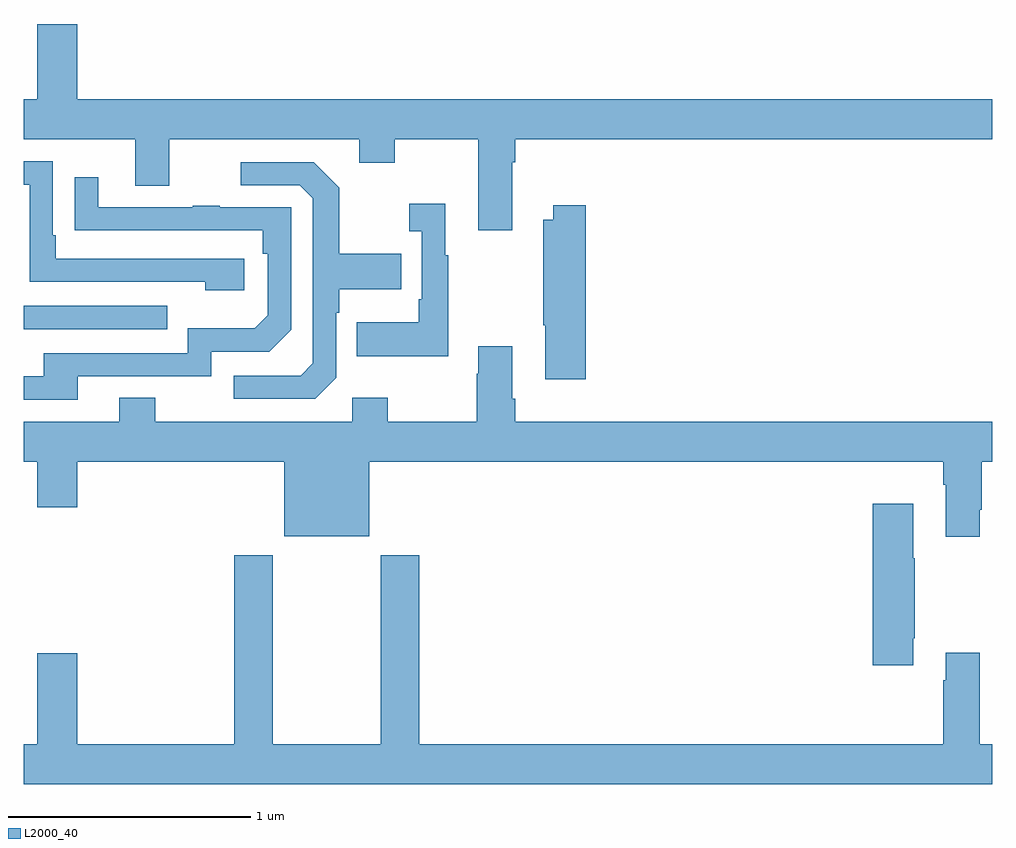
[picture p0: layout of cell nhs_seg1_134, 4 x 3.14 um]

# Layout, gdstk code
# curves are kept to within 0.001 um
import gdstk
lib = gdstk.Library(unit=1e-6, precision=1e-09)
def R(c, l, rs):  # rectangles x0, y0, x1, y1
    for r in rs: c.add(gdstk.rectangle(r[:2], r[2:], *l))
def P(c, l, *ps):  # polygons
    for p in ps: c.add(gdstk.Polygon(p, *l))
L2000_40 = (2000, 40)

nhs_seg1_134 = lib.new_cell('nhs_seg1_134')
R(nhs_seg1_134, L2000_40, [(117,558.939,117.593,559.035)])
P(nhs_seg1_134, L2000_40, [(119.017,559.628),(119.03,559.628),(119.03,559.724),(121,559.724),(121,559.888),(117.22,559.888),(117.22,560.199),(117.056,560.199),(117.056,559.888),(117,559.888),(117,559.724),(117.461,559.724),(117.461,559.53),(117.601,559.53),(117.601,559.724),(118.385,559.724),(118.385,559.625),(118.533,559.625),(118.533,559.724),(118.877,559.724),(118.877,559.347),(119.017,559.347)],
  [(117.91,559.23),(117.133,559.23),(117.133,559.327),(117.12,559.327),(117.12,559.632),(117,559.632),(117,559.536),(117.024,559.536),(117.024,559.134),(117.749,559.134),(117.749,559.1),(117.91,559.1)],
  [(118.29,558.738),(118.29,559.007),(118.303,559.007),(118.303,559.103),(118.559,559.103),(118.559,559.251),(118.303,559.251),(118.303,559.523),(118.197,559.629),(117.897,559.629),(117.897,559.533),(118.14,559.533),(118.194,559.479),(118.194,558.798),(118.143,558.747),(117.867,558.747),(117.867,558.651),(118.203,558.651)],
  [(117.223,558.744),(117.774,558.744),(117.774,558.846),(118.014,558.846),(118.104,558.936),(118.104,559.443),(117.809,559.443),(117.809,559.448),(117.697,559.448),(117.697,559.443),(117.307,559.443),(117.307,559.567),(117.211,559.567),(117.211,559.348),(117.988,559.347),(117.988,559.25),(118.008,559.25),(118.008,558.996),(117.955,558.943),(117.678,558.943),(117.678,558.84),(117.083,558.84),(117.083,558.744),(117,558.744),(117,558.648),(117.223,558.648)],
  [(118.753,559.243),(118.741,559.243),(118.741,559.456),(118.593,559.456),(118.593,559.343),(118.644,559.343),(118.644,559.063),(118.632,559.063),(118.632,558.967),(118.375,558.967),(118.375,558.827),(118.753,558.827)],
  [(119.321,559.45),(119.186,559.45),(119.186,559.39),(119.146,559.39),(119.146,558.955),(119.153,558.955),(119.153,558.732),(119.321,558.732)],
  [(120.949,558.193),(120.957,558.193),(120.957,558.392),(121,558.392),(121,558.556),(119.03,558.556),(119.03,558.652),(119.017,558.652),(119.017,558.868),(118.877,558.868),(118.877,558.755),(118.87,558.755),(118.87,558.556),(118.503,558.556),(118.503,558.655),(118.356,558.655),(118.356,558.556),(117.543,558.556),(117.543,558.655),(117.395,558.655),(117.395,558.556),(117,558.556),(117,558.392),(117.056,558.392),(117.056,558.204),(117.22,558.204),(117.22,558.392),(118.076,558.392),(118.076,558.083),(118.426,558.083),(118.426,558.392),(120.797,558.392),(120.797,558.296),(120.809,558.296),(120.809,558.081),(120.949,558.081)],
  [(120.673,557.662),(120.681,557.662),(120.681,557.993),(120.673,557.993),(120.673,558.217),(120.506,558.217),(120.506,557.55),(120.673,557.55)],
  [(121,557.224),(120.949,557.224),(120.949,557.602),(120.809,557.602),(120.809,557.489),(120.797,557.489),(120.797,557.224),(118.634,557.224),(118.634,558.004),(118.474,558.004),(118.474,557.224),(118.029,557.224),(118.029,558.004),(117.869,558.004),(117.869,557.224),(117.22,557.224),(117.22,557.599),(117.056,557.599),(117.056,557.224),(117,557.224),(117,557.06),(121,557.06)])

lib.write_gds('nhs_seg1_134.gds')
